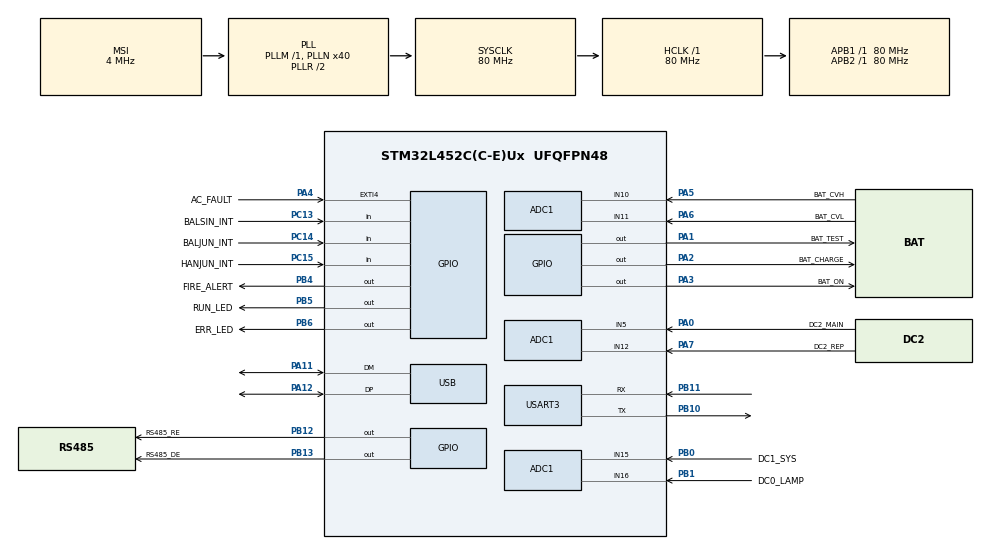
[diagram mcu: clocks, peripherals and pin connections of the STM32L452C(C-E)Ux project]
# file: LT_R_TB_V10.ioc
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ADC1.Channel-0\#ChannelRegularConversion=ADC_CHANNEL_10
ADC1.ClockPrescaler=ADC_CLOCK_ASYNC_DIV4
ADC1.ContinuousConvMode=DISABLE
ADC1.NbrOfConversion=1
ADC1.NbrOfConversionFlag=1
ADC1.OffsetNumber-0\#ChannelRegularConversion=ADC_OFFSET_NONE
ADC1.Rank-0\#ChannelRegularConversion=1
ADC1.SamplingTime-0\#ChannelRegularConversion=ADC_SAMPLETIME_247CYCLES_5
ADC1.master=1
IWDG.Prescaler=IWDG_PRESCALER_32
Mcu.Family=STM32L4
Mcu.Name=STM32L452C(C-E)Ux
Mcu.Package=UFQFPN48
NVIC.EXTI4_IRQn=true\:0\:0\:false\:false\:true\:true\:true\:true
NVIC.PriorityGroup=NVIC_PRIORITYGROUP_4
NVIC.TIM1_CC_IRQn=true\:0\:0\:false\:false\:true\:true\:true\:true
NVIC.TIM2_IRQn=true\:0\:0\:false\:false\:true\:true\:true\:true
NVIC.TIM3_IRQn=true\:0\:0\:false\:false\:true\:true\:true\:true
NVIC.USART3_IRQn=true\:0\:0\:false\:false\:true\:true\:true\:true
NVIC.USB_IRQn=true\:0\:0\:false\:false\:true\:false\:true\:true
PA0.GPIO_Label=DC2_MAIN
PA0.Signal=ADCx_IN5
PA1.GPIO_Label=BAT_TEST
PA1.Signal=GPIO_Output
PA11.Mode=Device
PA11.Signal=USB_DM
PA12.Mode=Device
PA12.Signal=USB_DP
PA13\ (JTMS/SWDIO).Mode=Trace_Asynchronous_SW
PA13\ (JTMS/SWDIO).Signal=SYS_JTMS-SWDIO
PA14\ (JTCK/SWCLK).Mode=Trace_Asynchronous_SW
PA14\ (JTCK/SWCLK).Signal=SYS_JTCK-SWCLK
PA2.GPIO_Label=BAT_CHARGE
PA2.Signal=GPIO_Output
PA3.GPIO_Label=BAT_ON
PA3.Signal=GPIO_Output
PA4.GPIO_Label=AC_FAULT
PA4.GPIO_ModeDefaultEXTI=GPIO_MODE_IT_RISING_FALLING
PA4.GPIO_PuPd=GPIO_PULLUP
PA4.Signal=GPXTI4
PA5.GPIO_Label=BAT_CVH
PA5.Signal=ADCx_IN10
PA6.GPIO_Label=BAT_CVL
PA6.Signal=ADCx_IN11
PA7.GPIO_Label=DC2_REP
PA7.Signal=ADCx_IN12
PB0.GPIO_Label=DC1_SYS
PB0.Signal=ADCx_IN15
PB1.GPIO_Label=DC0_LAMP
PB1.Signal=ADCx_IN16
PB10.Mode=Asynchronous
PB10.Signal=USART3_TX
PB11.Mode=Asynchronous
PB11.Signal=USART3_RX
PB12.GPIO_Label=RS485_RE
PB12.Signal=GPIO_Output
PB13.GPIO_Label=RS485_DE
PB13.Signal=GPIO_Output
PB3\ (JTDO/TRACESWO).Mode=Trace_Asynchronous_SW
PB3\ (JTDO/TRACESWO).Signal=SYS_JTDO-SWO
PB4\ (NJTRST).GPIO_Label=FIRE_ALERT
PB4\ (NJTRST).Signal=GPIO_Output
PB5.GPIO_Label=RUN_LED
PB5.Signal=GPIO_Output
PB6.GPIO_Label=ERR_LED
PB6.Signal=GPIO_Output
PC13.GPIO_Label=BALSIN_INT
PC13.Signal=GPIO_Input
PC14-OSC32_IN\ (PC14).GPIO_Label=BALJUN_INT
PC14-OSC32_IN\ (PC14).Signal=GPIO_Input
PC15-OSC32_OUT\ (PC15).GPIO_Label=HANJUN_INT
PC15-OSC32_OUT\ (PC15).Signal=GPIO_Input
ProjectManager.HeapSize=0x200
ProjectManager.StackSize=0x400
ProjectManager.TargetToolchain=STM32CubeIDE
RCC.ADCFreq_Value=48000000
RCC.AHBFreq_Value=80000000
RCC.APB1Freq_Value=80000000
RCC.APB1TimFreq_Value=80000000
RCC.APB2Freq_Value=80000000
RCC.APB2TimFreq_Value=80000000
RCC.CortexFreq_Value=80000000
RCC.HCLKFreq_Value=80000000
RCC.HSE_VALUE=8000000
RCC.HSI48_VALUE=48000000
RCC.HSI_VALUE=16000000
RCC.LSE_VALUE=32768
RCC.MSI_VALUE=4000000
RCC.PLLN=40
RCC.PLLSAI1N=24
RCC.SYSCLKFreq_VALUE=80000000
RCC.SYSCLKSource=RCC_SYSCLKSOURCE_PLLCLK
RCC.USBFreq_Value=48000000
RCC.VCOOutputFreq_Value=160000000
SH.ADCx_IN10.0=ADC1_IN10,IN10-Single-Ended
SH.ADCx_IN11.0=ADC1_IN11,IN11-Single-Ended
SH.ADCx_IN12.0=ADC1_IN12,IN12-Single-Ended
SH.ADCx_IN15.0=ADC1_IN15,IN15-Single-Ended
SH.ADCx_IN16.0=ADC1_IN16,IN16-Single-Ended
SH.ADCx_IN5.0=ADC1_IN5,IN5-Single-Ended
TIM1.Channel-Output\ Compare1\ No\ Output=TIM_CHANNEL_1
TIM1.Period=10000
TIM1.Prescaler=8000
TIM2.Channel-Output\ Compare1\ No\ Output=TIM_CHANNEL_1
TIM2.Period=99
TIM2.Prescaler=7999
TIM3.Channel-Output\ Compare1\ No\ Output=TIM_CHANNEL_1
TIM3.Period=10000
TIM3.Prescaler=800
USART3.VirtualMode-Asynchronous=VM_ASYNC
USB_DEVICE.CLASS_NAME_FS=CDC
USB_DEVICE.VirtualMode=Cdc
USB_DEVICE.VirtualModeFS=Cdc_FS
VP_IWDG_VS_IWDG.Mode=IWDG_Activate
VP_TIM1_VS_ClockSourceINT.Mode=Internal
VP_TIM1_VS_no_output1.Mode=Output Compare1 No Output
VP_TIM2_VS_ClockSourceINT.Mode=Internal
VP_TIM2_VS_no_output1.Mode=Output Compare1 No Output
VP_TIM3_VS_ClockSourceINT.Mode=Internal
VP_TIM3_VS_no_output1.Mode=Output Compare1 No Output
VP_USB_DEVICE_VS_USB_DEVICE_CDC_FS.Mode=CDC_FS
board=custom

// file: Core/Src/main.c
/* USER CODE BEGIN Header */
/**
  ******************************************************************************
  * @file           : main.c
  * @brief          : Main program body
  ******************************************************************************
  * @attention
  *
  * Copyright (c) 2025 STMicroelectronics.
  * All rights reserved.
  *
  * This software is licensed under terms that can be found in the LICENSE file
  * in the root directory of this software component.
  * If no LICENSE file comes with this software, it is provided AS-IS.
  *
  ******************************************************************************
  */
/* USER CODE END Header */
#include "main.h"
#include "usb_device.h"

/* USER CODE BEGIN Includes */
#include "Compile_Data.h"
/* USER CODE END Includes */

ADC_HandleTypeDef hadc1;

IWDG_HandleTypeDef hiwdg;

TIM_HandleTypeDef htim1;
TIM_HandleTypeDef htim2;
TIM_HandleTypeDef htim3;

UART_HandleTypeDef huart3;

/* USER CODE BEGIN PV */
//
#define Off_Battery_val 210000
#define Err_Battery_val 220000
#define Low_Battery_val 256000
//#define High_Battery_val 270000
#define High_Battery_val 285000                 // 자립형

uint8_t Uart_tmp[] = "Test\r\n";

uint32_t AC_FAULT_CNT ;

uint8_t Uart_rx3_buf[rx3_buf_len] ;
uint8_t Uart_rx3_buf_tmp[3] ;
int rx3_State ;
int rx3_buf_count;
int rx3_buf_count_tmp;
int rx3_Receive_complete;

int Balsin_signal, AC_FAULT;
int PYOSI_ADC, CCU_ADC, MAIN_ADC, REF_ADC, BAT_CVH_ADC, BAT_CVL_ADC;
int BAT_CVH_ADC_O, BAT_CVL_ADC_O;
int BAT_ADC , Bat_Currunt, Bat_Charge_Currunt, Bat_Charge_Val, Charge_Stat = 0,Charge_Cnt;
int Pow_Mode, Bat_Charge_Err, BAT_State, Test_status, Pre_Pow_Mode;
int HANJUN_sig,BALJUN_sig;
uint8_t Uart_tx_buf[tx_buf_len] ;

int Fire_signal;

int Balsin_Save[Balsin_CNT], Balsin_val;

int Bat_Charge_Mode;
int Bat_Charge_Compensation_Volt;
int Immobility_Chargr_Table[2]; //1:On 0: Off
int Compensation_Chargr_Table[5][2]; //1:On 0: Off

uint8_t Bat_Test_Status;

uint8_t TB_Address = 1 ;
#define Sub_TB_length      15

/* USER CODE END PV */

void SystemClock_Config(void);
void PeriphCommonClock_Config(void);
static void MX_GPIO_Init(void);
static void MX_TIM1_Init(void);
static void MX_TIM2_Init(void);
static void MX_TIM3_Init(void);
static void MX_USART3_UART_Init(void);
static void MX_ADC1_Init(void);
static void MX_IWDG_Init(void);

/* USER CODE BEGIN 0 */

///////////////Start timer interrupt operation function///////////////////

void HAL_TIM_OC_DelayElapsedCallback(TIM_HandleTypeDef *htim)
{
  if(htim->Instance == TIM1){
	  HAL_IWDG_Refresh(&hiwdg);
  }

}

/* USER CODE END 0 */

int main(void)
{

  /* MCU Configuration--------------------------------------------------------*/

  /* Reset of all peripherals, Initializes the Flash interface and the Systick. */
  HAL_Init();

  /* Configure the system clock */
  SystemClock_Config();

  /* Configure the peripherals common clocks */
  PeriphCommonClock_Config();

  /* Initialize all configured peripherals */
  MX_GPIO_Init();
  MX_TIM1_Init();
  MX_TIM2_Init();
  MX_TIM3_Init();
  MX_USART3_UART_Init();
  MX_USB_DEVICE_Init();
  MX_ADC1_Init();
  MX_IWDG_Init();
  /* USER CODE BEGIN 2 */

  /* huart3 RX Interrupt  Enable */
  /* Process Unlocked */
  __HAL_UNLOCK(&huart3);
  /* Enable the UART Parity Error Interrupt */
  __HAL_UART_ENABLE_IT(&huart3, UART_IT_PE);
  /* Enable the UART Error Interrupt: (Frame error, noise error, overrun error) */
  __HAL_UART_ENABLE_IT(&huart3, UART_IT_ERR);
  /* Enable the UART Data Register not empty Interrupt */
  __HAL_UART_ENABLE_IT(&huart3, UART_IT_RXNE);

  HAL_TIM_OC_Start_IT(&htim1,TIM_CHANNEL_1);
  HAL_TIM_OC_Start_IT(&htim2,TIM_CHANNEL_1);
  HAL_TIM_OC_Start_IT(&htim3,TIM_CHANNEL_1);

  Pow_Mode = AC_Mode;
  BAT_State = BAT_OK;

  Immobility_Chargr_Table[0] = 6; //1:On 0: Off
  Immobility_Chargr_Table[1] = Immobility_Chargr_Table[0] + 38; //1:On 0: Off

  //25.5V
  Compensation_Chargr_Table[0][0] =  6; //1:On 0: Off
  Compensation_Chargr_Table[0][1] = 26. + Compensation_Chargr_Table[0][0]; //1:On 0: Off
  //26V
  Compensation_Chargr_Table[1][0] =  6; //1:On 0: Off
  Compensation_Chargr_Table[1][1] = 38 + Compensation_Chargr_Table[1][0]; //1:On 0: Off
  //26.5V
  Compensation_Chargr_Table[2][0] =  6; //1:On 0: Off
  Compensation_Chargr_Table[2][1] = 56 + Compensation_Chargr_Table[2][0]; //1:On 0: Off
  //27V
  Compensation_Chargr_Table[3][0] =  6; //1:On 0: Off
  Compensation_Chargr_Table[3][1] = 83 + Compensation_Chargr_Table[3][0]; //1:On 0: Off
  //27.5V
  Compensation_Chargr_Table[4][0] =  6; //1:On 0: Off
  Compensation_Chargr_Table[4][1]= 100 + Compensation_Chargr_Table[4][0] ; //1:On 0: Off

  Bat_Charge_Mode = Immobility_Mode;
  Bat_Test_Status = 0;
  //Bat_Charge_Mode = Compensation_Mode;

  Compile_Date();

  /* USER CODE END 2 */

  /* Infinite loop */
  while (1)
  {

    /* USER CODE BEGIN 3 */

      /* Enable the UART Error Interrupt: (Frame error, noise error, overrun error) */
  __HAL_UART_ENABLE_IT(&huart3, UART_IT_ERR);
  /* Enable the UART Data Register not empty Interrupt */
  __HAL_UART_ENABLE_IT(&huart3, UART_IT_RXNE);

    if(rx3_Receive_complete == 1){
      SW_Com();
    }

    //Balsin_signal = Read_BALSIN();
    //AC_FAULT = Read_AC_FAULT();

    //AC_FAULT = Read_AC_FAULT();

    Read_ADC();
    Pre_Pow_Mode = Pow_Mode;
//    if(AC_FAULT == 1){
//    	if(PYOSI_ADC < 220000){
//    		Pow_Mode = BAT_Mode;
//    	}
//    	else{
//    		Pow_Mode = AC_Mode;
//    	}
//    }
//    else{
//      Pow_Mode = BAT_Mode;
//    }

    /*
    if(Pow_Mode == BAT_Mode){
		if(PYOSI_ADC < 10000){
			Pow_Mode = BAT_Mode;
		}
		else{
			Pow_Mode = AC_Mode;
		}
    }
    */

    //Pow_Mode = AC_Mode;
    if(Pow_Mode == AC_Mode){

//    	if(Pre_Pow_Mode == BAT_Mode){
//    		HAL_Delay(300);
//    	}

      HAL_GPIO_WritePin(BAT_ON_GPIO_Port, BAT_ON_Pin, GPIO_PIN_RESET);

	  //HAL_GPIO_WritePin(BAT_CHARGE_GPIO_Port , BAT_CHARGE_Pin , GPIO_PIN_RESET);
	  HAL_Delay(50);

      Read_ADC();

      //BAT_ADC = 230000;

      /*
      if(Bat_Test_Status == 1){
    	  Bat_Test_Status = 0;
    	  Battery_Test();
      }
*/

      if((BAT_ADC >= Err_Battery_val)&(BAT_ADC < High_Battery_val )){
        Charge_Stat = 1;
        BAT_State = BAT_OK;
        if(Bat_Charge_Mode == Immobility_Mode){

        	if(BAT_ADC > 280000){
        		Bat_Charge_Mode = Compensation_Mode;
        	}
        }
        else if(Bat_Charge_Mode == Compensation_Mode){
        	if((BAT_ADC >= 255000)&(BAT_ADC < 260000 )){
        		Bat_Charge_Compensation_Volt = Charge_255_Mode;
        	}
        	else if((BAT_ADC >= 260000)&(BAT_ADC < 265000 )){
        		Bat_Charge_Compensation_Volt = Charge_260_Mode;
        	}
        	else if((BAT_ADC >= 265000)&(BAT_ADC < 270000 )){
        		Bat_Charge_Compensation_Volt = Charge_265_Mode;
        	}
        	else if((BAT_ADC >= 270000)&(BAT_ADC < 275000 )){
        		Bat_Charge_Compensation_Volt = Charge_270_Mode;
        	}
        	else if((BAT_ADC >= 275000)&(BAT_ADC < 280000 )){
        		Bat_Charge_Compensation_Volt = Charge_275_Mode;
        	}
        	else{
        		Bat_Charge_Compensation_Volt = Charge_Off_Mode;
        	}
        }
      }

      else if(BAT_ADC >= High_Battery_val ){
        Charge_Stat = 0;
        Bat_Charge_Currunt = 0;
        BAT_State = BAT_OK;
      }
      else if(BAT_ADC < Err_Battery_val){
        Charge_Stat = 2;
        Bat_Charge_Currunt = 0;
        BAT_State = BAT_False;
      }
    }
    else{
      Charge_Stat = 0;
      Read_ADC();
      BAT_ADC = BAT_CVL_ADC;

//      BAT_ADC

      if(BAT_ADC < Off_Battery_val){
        HAL_GPIO_WritePin(BAT_ON_GPIO_Port, BAT_ON_Pin, GPIO_PIN_RESET);
//        while(1){
//        }
      }
      else{
        HAL_GPIO_WritePin(BAT_ON_GPIO_Port, BAT_ON_Pin, GPIO_PIN_SET);
      }
    }

    if(Charge_Stat != 1){
      Read_ADC();
      BAT_ADC = BAT_CVL_ADC;
    }
    else{
      if(Charge_Cnt == 4){
        Read_ADC();       //충전중에는 베터리 값을 갱신하지 않는다.
        Bat_Charge_Currunt = Bat_Currunt ;
        Bat_Charge_Val = BAT_CVH_ADC;
      }
      else if((Charge_Cnt >= 15) & (Charge_Cnt <40)){
      Read_ADC();
      BAT_ADC = BAT_CVL_ADC;
      }
    }
    if(BAT_ADC < 270000){
      for(int i=0;i<100;i++){
        if(rx3_Receive_complete == 1){
          SW_Com();
        }
        HAL_Delay(1);
      }
    }

  }

  /* USER CODE END 3 */
}

void SystemClock_Config(void)
{
  RCC_OscInitTypeDef RCC_OscInitStruct = {0};
  RCC_ClkInitTypeDef RCC_ClkInitStruct = {0};

  /** Configure the main internal regulator output voltage
  */
  if (HAL_PWREx_ControlVoltageScaling(PWR_REGULATOR_VOLTAGE_SCALE1) != HAL_OK)
  {
    Error_Handler();
  }

  /** Initializes the RCC Oscillators according to the specified parameters
  * in the RCC_OscInitTypeDef structure.
  */
  RCC_OscInitStruct.OscillatorType = RCC_OSCILLATORTYPE_LSI|RCC_OSCILLATORTYPE_MSI;
  RCC_OscInitStruct.LSIState = RCC_LSI_ON;
  RCC_OscInitStruct.MSIState = RCC_MSI_ON;
  RCC_OscInitStruct.MSICalibrationValue = 0;
  RCC_OscInitStruct.MSIClockRange = RCC_MSIRANGE_6;
  RCC_OscInitStruct.PLL.PLLState = RCC_PLL_ON;
  RCC_OscInitStruct.PLL.PLLSource = RCC_PLLSOURCE_MSI;
  RCC_OscInitStruct.PLL.PLLM = 1;
  RCC_OscInitStruct.PLL.PLLN = 40;
  RCC_OscInitStruct.PLL.PLLP = RCC_PLLP_DIV7;
  RCC_OscInitStruct.PLL.PLLQ = RCC_PLLQ_DIV2;
  RCC_OscInitStruct.PLL.PLLR = RCC_PLLR_DIV2;
  if (HAL_RCC_OscConfig(&RCC_OscInitStruct) != HAL_OK)
  {
    Error_Handler();
  }

  /** Initializes the CPU, AHB and APB buses clocks
  */
  RCC_ClkInitStruct.ClockType = RCC_CLOCKTYPE_HCLK|RCC_CLOCKTYPE_SYSCLK
                              |RCC_CLOCKTYPE_PCLK1|RCC_CLOCKTYPE_PCLK2;
  RCC_ClkInitStruct.SYSCLKSource = RCC_SYSCLKSOURCE_PLLCLK;
  RCC_ClkInitStruct.AHBCLKDivider = RCC_SYSCLK_DIV1;
  RCC_ClkInitStruct.APB1CLKDivider = RCC_HCLK_DIV1;
  RCC_ClkInitStruct.APB2CLKDivider = RCC_HCLK_DIV1;

  if (HAL_RCC_ClockConfig(&RCC_ClkInitStruct, FLASH_LATENCY_4) != HAL_OK)
  {
    Error_Handler();
  }
}

void PeriphCommonClock_Config(void)
{
  RCC_PeriphCLKInitTypeDef PeriphClkInit = {0};

  /** Initializes the peripherals clock
  */
  PeriphClkInit.PeriphClockSelection = RCC_PERIPHCLK_USB|RCC_PERIPHCLK_ADC;
  PeriphClkInit.AdcClockSelection = RCC_ADCCLKSOURCE_PLLSAI1;
  PeriphClkInit.UsbClockSelection = RCC_USBCLKSOURCE_PLLSAI1;
  PeriphClkInit.PLLSAI1.PLLSAI1Source = RCC_PLLSOURCE_MSI;
  PeriphClkInit.PLLSAI1.PLLSAI1M = 1;
  PeriphClkInit.PLLSAI1.PLLSAI1N = 24;
  PeriphClkInit.PLLSAI1.PLLSAI1P = RCC_PLLP_DIV7;
  PeriphClkInit.PLLSAI1.PLLSAI1Q = RCC_PLLQ_DIV2;
  PeriphClkInit.PLLSAI1.PLLSAI1R = RCC_PLLR_DIV2;
  PeriphClkInit.PLLSAI1.PLLSAI1ClockOut = RCC_PLLSAI1_48M2CLK|RCC_PLLSAI1_ADC1CLK;
  if (HAL_RCCEx_PeriphCLKConfig(&PeriphClkInit) != HAL_OK)
  {
    Error_Handler();
  }
}

static void MX_ADC1_Init(void)
{

  ADC_ChannelConfTypeDef sConfig = {0};

  /** Common config
  */
  hadc1.Instance = ADC1;
  hadc1.Init.ClockPrescaler = ADC_CLOCK_ASYNC_DIV4;
  hadc1.Init.Resolution = ADC_RESOLUTION_12B;
  hadc1.Init.DataAlign = ADC_DATAALIGN_RIGHT;
  hadc1.Init.ScanConvMode = ADC_SCAN_DISABLE;
  hadc1.Init.EOCSelection = ADC_EOC_SINGLE_CONV;
  hadc1.Init.LowPowerAutoWait = DISABLE;
  hadc1.Init.ContinuousConvMode = DISABLE;
  hadc1.Init.NbrOfConversion = 1;
  hadc1.Init.DiscontinuousConvMode = DISABLE;
  hadc1.Init.ExternalTrigConv = ADC_SOFTWARE_START;
  hadc1.Init.ExternalTrigConvEdge = ADC_EXTERNALTRIGCONVEDGE_NONE;
  hadc1.Init.DMAContinuousRequests = DISABLE;
  hadc1.Init.Overrun = ADC_OVR_DATA_PRESERVED;
  hadc1.Init.OversamplingMode = DISABLE;
  if (HAL_ADC_Init(&hadc1) != HAL_OK)
  {
    Error_Handler();
  }

  /** Configure Regular Channel
  */
  sConfig.Channel = ADC_CHANNEL_10;
  sConfig.Rank = ADC_REGULAR_RANK_1;
  sConfig.SamplingTime = ADC_SAMPLETIME_247CYCLES_5;
  sConfig.SingleDiff = ADC_SINGLE_ENDED;
  sConfig.OffsetNumber = ADC_OFFSET_NONE;
  sConfig.Offset = 0;
  if (HAL_ADC_ConfigChannel(&hadc1, &sConfig) != HAL_OK)
  {
    Error_Handler();
  }

}

static void MX_IWDG_Init(void)
{

  hiwdg.Instance = IWDG;
  hiwdg.Init.Prescaler = IWDG_PRESCALER_32;
  hiwdg.Init.Window = 4095;
  hiwdg.Init.Reload = 4095;
  if (HAL_IWDG_Init(&hiwdg) != HAL_OK)
  {
    Error_Handler();
  }

}

static void MX_TIM1_Init(void)
{

  TIM_ClockConfigTypeDef sClockSourceConfig = {0};
  TIM_MasterConfigTypeDef sMasterConfig = {0};
  TIM_OC_InitTypeDef sConfigOC = {0};
  TIM_BreakDeadTimeConfigTypeDef sBreakDeadTimeConfig = {0};

  htim1.Instance = TIM1;
  htim1.Init.Prescaler = 8000;
  htim1.Init.CounterMode = TIM_COUNTERMODE_UP;
  htim1.Init.Period = 10000;
  htim1.Init.ClockDivision = TIM_CLOCKDIVISION_DIV1;
  htim1.Init.RepetitionCounter = 0;
  htim1.Init.AutoReloadPreload = TIM_AUTORELOAD_PRELOAD_DISABLE;
  if (HAL_TIM_Base_Init(&htim1) != HAL_OK)
  {
    Error_Handler();
  }
  sClockSourceConfig.ClockSource = TIM_CLOCKSOURCE_INTERNAL;
  if (HAL_TIM_ConfigClockSource(&htim1, &sClockSourceConfig) != HAL_OK)
  {
    Error_Handler();
  }
  if (HAL_TIM_OC_Init(&htim1) != HAL_OK)
  {
    Error_Handler();
  }
  sMasterConfig.MasterOutputTrigger = TIM_TRGO_RESET;
  sMasterConfig.MasterOutputTrigger2 = TIM_TRGO2_RESET;
  sMasterConfig.MasterSlaveMode = TIM_MASTERSLAVEMODE_DISABLE;
  if (HAL_TIMEx_MasterConfigSynchronization(&htim1, &sMasterConfig) != HAL_OK)
  {
    Error_Handler();
  }
  sConfigOC.OCMode = TIM_OCMODE_TIMING;
  sConfigOC.Pulse = 0;
  sConfigOC.OCPolarity = TIM_OCPOLARITY_HIGH;
  sConfigOC.OCNPolarity = TIM_OCNPOLARITY_HIGH;
  sConfigOC.OCFastMode = TIM_OCFAST_DISABLE;
  sConfigOC.OCIdleState = TIM_OCIDLESTATE_RESET;
  sConfigOC.OCNIdleState = TIM_OCNIDLESTATE_RESET;
  if (HAL_TIM_OC_ConfigChannel(&htim1, &sConfigOC, TIM_CHANNEL_1) != HAL_OK)
  {
    Error_Handler();
  }
  sBreakDeadTimeConfig.OffStateRunMode = TIM_OSSR_DISABLE;
  sBreakDeadTimeConfig.OffStateIDLEMode = TIM_OSSI_DISABLE;
  sBreakDeadTimeConfig.LockLevel = TIM_LOCKLEVEL_OFF;
  sBreakDeadTimeConfig.DeadTime = 0;
  sBreakDeadTimeConfig.BreakState = TIM_BREAK_DISABLE;
  sBreakDeadTimeConfig.BreakPolarity = TIM_BREAKPOLARITY_HIGH;
  sBreakDeadTimeConfig.BreakFilter = 0;
  sBreakDeadTimeConfig.Break2State = TIM_BREAK2_DISABLE;
  sBreakDeadTimeConfig.Break2Polarity = TIM_BREAK2POLARITY_HIGH;
  sBreakDeadTimeConfig.Break2Filter = 0;
  sBreakDeadTimeConfig.AutomaticOutput = TIM_AUTOMATICOUTPUT_DISABLE;
  if (HAL_TIMEx_ConfigBreakDeadTime(&htim1, &sBreakDeadTimeConfig) != HAL_OK)
  {
    Error_Handler();
  }

}

static void MX_TIM2_Init(void)
{

  TIM_ClockConfigTypeDef sClockSourceConfig = {0};
  TIM_MasterConfigTypeDef sMasterConfig = {0};
  TIM_OC_InitTypeDef sConfigOC = {0};

  htim2.Instance = TIM2;
  htim2.Init.Prescaler = 7999;
  htim2.Init.CounterMode = TIM_COUNTERMODE_UP;
  htim2.Init.Period = 99;
  htim2.Init.ClockDivision = TIM_CLOCKDIVISION_DIV1;
  htim2.Init.AutoReloadPreload = TIM_AUTORELOAD_PRELOAD_DISABLE;
  if (HAL_TIM_Base_Init(&htim2) != HAL_OK)
  {
    Error_Handler();
  }
  sClockSourceConfig.ClockSource = TIM_CLOCKSOURCE_INTERNAL;
  if (HAL_TIM_ConfigClockSource(&htim2, &sClockSourceConfig) != HAL_OK)
  {
    Error_Handler();
  }
  if (HAL_TIM_OC_Init(&htim2) != HAL_OK)
  {
    Error_Handler();
  }
  sMasterConfig.MasterOutputTrigger = TIM_TRGO_RESET;
  sMasterConfig.MasterSlaveMode = TIM_MASTERSLAVEMODE_DISABLE;
  if (HAL_TIMEx_MasterConfigSynchronization(&htim2, &sMasterConfig) != HAL_OK)
  {
    Error_Handler();
  }
  sConfigOC.OCMode = TIM_OCMODE_TIMING;
  sConfigOC.Pulse = 0;
  sConfigOC.OCPolarity = TIM_OCPOLARITY_HIGH;
  sConfigOC.OCFastMode = TIM_OCFAST_DISABLE;
  if (HAL_TIM_OC_ConfigChannel(&htim2, &sConfigOC, TIM_CHANNEL_1) != HAL_OK)
  {
    Error_Handler();
  }

}

static void MX_TIM3_Init(void)
{

  TIM_ClockConfigTypeDef sClockSourceConfig = {0};
  TIM_MasterConfigTypeDef sMasterConfig = {0};
  TIM_OC_InitTypeDef sConfigOC = {0};

  htim3.Instance = TIM3;
  htim3.Init.Prescaler = 800;
  htim3.Init.CounterMode = TIM_COUNTERMODE_UP;
  htim3.Init.Period = 10000;
  htim3.Init.ClockDivision = TIM_CLOCKDIVISION_DIV1;
  htim3.Init.AutoReloadPreload = TIM_AUTORELOAD_PRELOAD_DISABLE;
  if (HAL_TIM_Base_Init(&htim3) != HAL_OK)
  {
    Error_Handler();
  }
  sClockSourceConfig.ClockSource = TIM_CLOCKSOURCE_INTERNAL;
  if (HAL_TIM_ConfigClockSource(&htim3, &sClockSourceConfig) != HAL_OK)
  {
    Error_Handler();
  }
  if (HAL_TIM_OC_Init(&htim3) != HAL_OK)
  {
    Error_Handler();
  }
  sMasterConfig.MasterOutputTrigger = TIM_TRGO_RESET;
  sMasterConfig.MasterSlaveMode = TIM_MASTERSLAVEMODE_DISABLE;
  if (HAL_TIMEx_MasterConfigSynchronization(&htim3, &sMasterConfig) != HAL_OK)
  {
    Error_Handler();
  }
  sConfigOC.OCMode = TIM_OCMODE_TIMING;
  sConfigOC.Pulse = 0;
  sConfigOC.OCPolarity = TIM_OCPOLARITY_HIGH;
  sConfigOC.OCFastMode = TIM_OCFAST_DISABLE;
  if (HAL_TIM_OC_ConfigChannel(&htim3, &sConfigOC, TIM_CHANNEL_1) != HAL_OK)
  {
    Error_Handler();
  }

}

static void MX_USART3_UART_Init(void)
{

  huart3.Instance = USART3;
  huart3.Init.BaudRate = 115200;
  huart3.Init.WordLength = UART_WORDLENGTH_8B;
  huart3.Init.StopBits = UART_STOPBITS_1;
  huart3.Init.Parity = UART_PARITY_NONE;
  huart3.Init.Mode = UART_MODE_TX_RX;
  huart3.Init.HwFlowCtl = UART_HWCONTROL_NONE;
  huart3.Init.OverSampling = UART_OVERSAMPLING_16;
  huart3.Init.OneBitSampling = UART_ONE_BIT_SAMPLE_DISABLE;
  huart3.AdvancedInit.AdvFeatureInit = UART_ADVFEATURE_NO_INIT;
  if (HAL_UART_Init(&huart3) != HAL_OK)
  {
    Error_Handler();
  }

}

static void MX_GPIO_Init(void)
{
  GPIO_InitTypeDef GPIO_InitStruct = {0};

  /* GPIO Ports Clock Enable */
  __HAL_RCC_GPIOC_CLK_ENABLE();
  __HAL_RCC_GPIOA_CLK_ENABLE();
  __HAL_RCC_GPIOB_CLK_ENABLE();

  /*Configure GPIO pin Output Level */
  HAL_GPIO_WritePin(GPIOA, BAT_TEST_Pin|BAT_CHARGE_Pin|BAT_ON_Pin, GPIO_PIN_RESET);

  /*Configure GPIO pin Output Level */
  HAL_GPIO_WritePin(GPIOB, RS485_RE_Pin|RS485_DE_Pin|FIRE_ALERT_Pin|RUN_LED_Pin
                          |ERR_LED_Pin, GPIO_PIN_RESET);

  /*Configure GPIO pins : BALSIN_INT_Pin BALJUN_INT_Pin HANJUN_INT_Pin */
  GPIO_InitStruct.Pin = BALSIN_INT_Pin|BALJUN_INT_Pin|HANJUN_INT_Pin;
  GPIO_InitStruct.Mode = GPIO_MODE_INPUT;
  GPIO_InitStruct.Pull = GPIO_NOPULL;
  HAL_GPIO_Init(GPIOC, &GPIO_InitStruct);

  /*Configure GPIO pins : BAT_TEST_Pin BAT_CHARGE_Pin BAT_ON_Pin */
  GPIO_InitStruct.Pin = BAT_TEST_Pin|BAT_CHARGE_Pin|BAT_ON_Pin;
  GPIO_InitStruct.Mode = GPIO_MODE_OUTPUT_PP;
  GPIO_InitStruct.Pull = GPIO_NOPULL;
  GPIO_InitStruct.Speed = GPIO_SPEED_FREQ_LOW;
  HAL_GPIO_Init(GPIOA, &GPIO_InitStruct);

  /*Configure GPIO pin : AC_FAULT_Pin */
  GPIO_InitStruct.Pin = AC_FAULT_Pin;
  GPIO_InitStruct.Mode = GPIO_MODE_IT_RISING_FALLING;
  GPIO_InitStruct.Pull = GPIO_PULLUP;
  HAL_GPIO_Init(AC_FAULT_GPIO_Port, &GPIO_InitStruct);

  /*Configure GPIO pins : RS485_RE_Pin RS485_DE_Pin FIRE_ALERT_Pin RUN_LED_Pin
                           ERR_LED_Pin */
  GPIO_InitStruct.Pin = RS485_RE_Pin|RS485_DE_Pin|FIRE_ALERT_Pin|RUN_LED_Pin
                          |ERR_LED_Pin;
  GPIO_InitStruct.Mode = GPIO_MODE_OUTPUT_PP;
  GPIO_InitStruct.Pull = GPIO_NOPULL;
  GPIO_InitStruct.Speed = GPIO_SPEED_FREQ_LOW;
  HAL_GPIO_Init(GPIOB, &GPIO_InitStruct);

  /* EXTI interrupt init*/
  HAL_NVIC_SetPriority(EXTI4_IRQn, 0, 0);
  HAL_NVIC_EnableIRQ(EXTI4_IRQn);

}

/* USER CODE BEGIN 4 */

int Uart3_crc = 0;
int Uart_crc = 0;

void SW_Com(void){

  // CRC 체크

  int i,pow_st;

  // 전송할 중계기 정보를 확인한다.

  Uart3_crc = 0;

  for(i = 0; i <rx3_buf_count_tmp - 5 ; i++){
    Uart3_crc = Uart3_crc ^ Uart_rx3_buf[i+2];
  }

  if(Uart3_crc == Uart_rx3_buf[rx3_buf_count_tmp - 3]){
    //0x51 , 'Q' ,중계기 정보 요청 (UI에서 설정한 값만)

    if(Uart_rx3_buf[4] == 0x54){        // TB board: '0x54'
      if(Uart_rx3_buf[3] == 0x51){

        Uart_tx_buf[0] = 0x53;    //S
        Uart_tx_buf[1] = 0x54;    //T
        Uart_tx_buf[2] = 0x54;    //T
        Uart_tx_buf[3] = 0x52;    //R
        Uart_tx_buf[4] = 0x01;    //address
        Uart_tx_buf[5] = 0x0A;    //version 10 -> 1.0
        Uart_tx_buf[6] = 0x00;    //외부 발신
        Uart_tx_buf[7] = 0x00;    //외부 전원
        Uart_tx_buf[8] = 0x00;    //베터리 AC 상태
        Uart_tx_buf[9] = 0x00;    //베터리 전압
        Uart_tx_buf[10] = 0x00;   //메인 전압
        Uart_tx_buf[11] = 0x00;   //충전 전압
        Uart_tx_buf[12] = 0x00;   //베터리 테스트 결과
        Uart_tx_buf[13] = 0x00;   //dummy1
        Uart_tx_buf[14] = 0x00;   //dummy2
        Uart_tx_buf[15] = 0x00;   //CRC
        Uart_tx_buf[16] = 0x45;   //E
        Uart_tx_buf[17] = 0x44;   //D

        Uart_crc = 0;

        //Balsin_signal = Read_BALSIN();
        Balsin_signal = Balsin_val;
        HANJUN_sig = Read_HANJUN();
        BALJUN_sig = Read_BALJUN();

        if((HANJUN_sig == 0) &(BALJUN_sig ==0)){
          pow_st = 0;
        }
        else if((HANJUN_sig == 1) &(BALJUN_sig ==0)){
          pow_st = 1;
        }
        else if((HANJUN_sig == 0) &(BALJUN_sig ==1)){
          pow_st = 2;
        }
        else if((HANJUN_sig == 1) &(BALJUN_sig ==1)){
          pow_st = 3;
        }

        Uart_tx_buf[6] = Balsin_signal;
        Uart_tx_buf[7] = pow_st;    //외부 전원 1: 한전 , 2:발전
        //Uart_tx_buf[8] = AC_FAULT;    //베터리 AC 상태
        Uart_tx_buf[8] = Pow_Mode;

        if(((BAT_ADC / 1000) - 100)<0){
          Uart_tx_buf[9] = 0;    //베터리 전압
        }
        else {
          Uart_tx_buf[9] = (BAT_ADC / 1000) - 100;    //베터리 전압
        }

        if(((MAIN_ADC / 1000) - 100)<0){
          Uart_tx_buf[10] = 0;    //베터리 전압
        }
        else {
          Uart_tx_buf[10] = (MAIN_ADC / 1000) - 100;    //베터리 전압
        }

         if(((Bat_Charge_Val / 1000) - 100)<0){
          Uart_tx_buf[11] = 0;    //베터리 전압
        }
        else {
          Uart_tx_buf[11] = (Bat_Charge_Val / 1000) - 100;    //베터리 전압
        }

        //Uart_tx_buf[10] = (MAIN_ADC / 1000) - 100;   //메인 전압
        //Uart_tx_buf[11] = (Bat_Charge_Val / 1000) - 100;   //충전 전압
        Uart_tx_buf[12] = ((Charge_Stat << 4 )&0xF0) | (Test_status&0x0F);   //베터리 테스트 결과

        Uart_tx_buf[14] = 24 ;//dummy2   표시등 퓨즈 단선 전압값 , 벽부형만 적용 자립형은 24v고정
        for(i = 0; i <tx_buf_len - 5 ; i++){
          Uart_crc = Uart_crc ^ Uart_tx_buf[i+2];
        }
        Uart_tx_buf[15] = Uart_crc;

        HAL_GPIO_WritePin(RS485_DE_GPIO_Port , RS485_DE_Pin , GPIO_PIN_SET);
        HAL_GPIO_WritePin(RS485_RE_GPIO_Port , RS485_RE_Pin , GPIO_PIN_SET);

        HAL_Delay(1);
        if(HAL_UART_Transmit(&huart3, Uart_tx_buf, sizeof(Uart_tx_buf), 1000)!= HAL_OK)
            {
              Error_Handler();
            }

        HAL_Delay(1);

        HAL_GPIO_WritePin(RS485_DE_GPIO_Port , RS485_DE_Pin , GPIO_PIN_RESET);
        HAL_GPIO_WritePin(RS485_RE_GPIO_Port , RS485_RE_Pin , GPIO_PIN_RESET);

      }
      else if(Uart_rx3_buf[3] == 0x53){

        if(Uart_rx3_buf[6] == 0x01){
        	if(Bat_Test_Status == 0){
        		Bat_Test_Status = 1;
        		Battery_Test();
        	}
        	Bat_Test_Status = 0;
        }
        else if(Uart_rx3_buf[6] == 0x00){
        	Test_status = 0;
        }

        if(Uart_rx3_buf[8] == 0x01){
          Fire_signal = 1;
          HAL_GPIO_WritePin(FIRE_ALERT_GPIO_Port , FIRE_ALERT_Pin , GPIO_PIN_SET);
        }
        else if(Uart_rx3_buf[8] == 0x00){
          Fire_signal = 0;
          HAL_GPIO_WritePin(FIRE_ALERT_GPIO_Port , FIRE_ALERT_Pin , GPIO_PIN_RESET);
        }
      }
      else if(Uart_rx3_buf[3] == 0x56){
    	  SUB_Com_SW_V();
      }
    }
  }

  for(i = 0; i <rx3_buf_len ; i++){
    Uart_rx3_buf[i] = 0;
  }

  rx3_Receive_complete = 0;

}

int Read_BALSIN(void){
  int Read_val = 0;
  if(HAL_GPIO_ReadPin(BALSIN_INT_GPIO_Port, BALSIN_INT_Pin) == GPIO_PIN_RESET){
    Read_val = 1;
  }
  else{
    Read_val = 0;
  }

  return Read_val;
}

int Read_HANJUN(void){
  int Read_val = 0;
  if(HAL_GPIO_ReadPin(HANJUN_INT_GPIO_Port, HANJUN_INT_Pin) == GPIO_PIN_RESET){
    Read_val = 1;
  }
  else{
    Read_val = 0;
  }

  return Read_val;
}

int Read_BALJUN(void){
  int Read_val = 0;
  if(HAL_GPIO_ReadPin(BALJUN_INT_GPIO_Port, BALJUN_INT_Pin) == GPIO_PIN_RESET){
    Read_val = 1;
  }
  else{
    Read_val = 0;
  }

  return Read_val;
}

void Read_ADC(void){

  //ADC Setting
  float adc_dalta ;

  adc_dalta = 8.06;

  ADC_ChannelConfTypeDef sConfig = {0};

  hadc1.Instance = ADC1;
  hadc1.Init.ClockPrescaler = ADC_CLOCK_ASYNC_DIV4;
  hadc1.Init.Resolution = ADC_RESOLUTION_12B;
  hadc1.Init.DataAlign = ADC_DATAALIGN_RIGHT;
  hadc1.Init.ScanConvMode = ADC_SCAN_DISABLE;
  hadc1.Init.EOCSelection = ADC_EOC_SINGLE_CONV;
  hadc1.Init.LowPowerAutoWait = DISABLE;
  hadc1.Init.ContinuousConvMode = DISABLE;
  hadc1.Init.NbrOfConversion = 1;
  hadc1.Init.DiscontinuousConvMode = DISABLE;
  hadc1.Init.ExternalTrigConv = ADC_SOFTWARE_START;
  hadc1.Init.ExternalTrigConvEdge = ADC_EXTERNALTRIGCONVEDGE_NONE;
  hadc1.Init.DMAContinuousRequests = DISABLE;
  hadc1.Init.Overrun = ADC_OVR_DATA_PRESERVED;
  hadc1.Init.OversamplingMode = DISABLE;
  if (HAL_ADC_Init(&hadc1) != HAL_OK)
  {
    Error_Handler();
  }
  /** Configure Regular Channel
  */

   ///////////////////////////////////////////////////////////////////

  sConfig.Channel = ADC_CHANNEL_12;
  sConfig.Rank = ADC_REGULAR_RANK_1;
  sConfig.SamplingTime = ADC_SAMPLETIME_47CYCLES_5;
  //sConfig.SamplingTime = ADC_SAMPLETIME_640CYCLES_5;
  sConfig.SingleDiff = ADC_SINGLE_ENDED;
  sConfig.OffsetNumber = ADC_OFFSET_NONE;
  sConfig.Offset = 0;
  if (HAL_ADC_ConfigChannel(&hadc1, &sConfig) != HAL_OK)
  {
    Error_Handler();
  }

  int REF_ADC_tmp;
  HAL_ADC_Start(&hadc1);
  HAL_ADC_PollForConversion(&hadc1, 1000);
  REF_ADC_tmp = HAL_ADC_GetValue(&hadc1);
  HAL_ADC_Stop(&hadc1);

  REF_ADC_tmp =(int) ( REF_ADC_tmp * adc_dalta * 8 );

  REF_ADC = REF_ADC_tmp;

  ///////////////////////////////////////////////////////////////////

  ///////////////////////////////////////////////////////////////////

  sConfig.Channel = ADC_CHANNEL_16;
  if (HAL_ADC_ConfigChannel(&hadc1, &sConfig) != HAL_OK)
  {
    Error_Handler();
  }

  int PYOSI_ADC_tmp;
  HAL_ADC_Start(&hadc1);
  HAL_ADC_PollForConversion(&hadc1, 1000);
  PYOSI_ADC_tmp = HAL_ADC_GetValue(&hadc1);
  HAL_ADC_Stop(&hadc1);

  PYOSI_ADC_tmp =(int) ( PYOSI_ADC_tmp * adc_dalta * 15 );

  PYOSI_ADC = PYOSI_ADC_tmp;

  ///////////////////////////////////////////////////////////////////

  ///////////////////////////////////////////////////////////////////

  sConfig.Channel = ADC_CHANNEL_15;
  if (HAL_ADC_ConfigChannel(&hadc1, &sConfig) != HAL_OK)
  {
    Error_Handler();
  }

  int CCU_ADC_tmp;
  HAL_ADC_Start(&hadc1);
  HAL_ADC_PollForConversion(&hadc1, 1000);
  CCU_ADC_tmp = HAL_ADC_GetValue(&hadc1);
  HAL_ADC_Stop(&hadc1);

  CCU_ADC_tmp = (int) (CCU_ADC_tmp * adc_dalta * 15) ;

  CCU_ADC = CCU_ADC_tmp;
  MAIN_ADC = CCU_ADC;

  ///////////////////////////////////////////////////////////////////

  ///////////////////////////////////////////////////////////////////
  sConfig.Channel = ADC_CHANNEL_5;
  if (HAL_ADC_ConfigChannel(&hadc1, &sConfig) != HAL_OK)
  {
    Error_Handler();
  }

  int MAIN_ADC_tmp;
  HAL_ADC_Start(&hadc1);
  HAL_ADC_PollForConversion(&hadc1, 1000);
  MAIN_ADC_tmp = HAL_ADC_GetValue(&hadc1);
  HAL_ADC_Stop(&hadc1);

  MAIN_ADC_tmp = (int) (MAIN_ADC_tmp * adc_dalta * 15) ;

  //MAIN_ADC = MAIN_ADC_tmp;

  ///////////////////////////////////////////////////////////////////

  ///////////////////////////////////////////////////////////////////
  sConfig.Channel = ADC_CHANNEL_10;
  if (HAL_ADC_ConfigChannel(&hadc1, &sConfig) != HAL_OK)
  {
    Error_Handler();
  }

  HAL_ADC_Start(&hadc1);
  HAL_ADC_PollForConversion(&hadc1, 1000);
  BAT_CVH_ADC_O = HAL_ADC_GetValue(&hadc1);
  HAL_ADC_Stop(&hadc1);

  BAT_CVH_ADC = (int) (BAT_CVH_ADC_O * adc_dalta * 15) ;

  if(BAT_CVH_ADC > 5000){
    BAT_CVH_ADC = BAT_CVH_ADC + 11000;
  }

  ///////////////////////////////////////////////////////////////////

  ///////////////////////////////////////////////////////////////////

  sConfig.Channel = ADC_CHANNEL_11;
  if (HAL_ADC_ConfigChannel(&hadc1, &sConfig) != HAL_OK)
  {
    Error_Handler();
  }

  HAL_ADC_Start(&hadc1);
  HAL_ADC_PollForConversion(&hadc1, 1000);
  BAT_CVL_ADC_O = HAL_ADC_GetValue(&hadc1);
  HAL_ADC_Stop(&hadc1);

  BAT_CVL_ADC = (int) (BAT_CVL_ADC_O * adc_dalta * 15) ;

  ///////////////////////////////////////////////////////////////////

  ///////////////////////////////////////////////////////////////////

  if(BAT_CVH_ADC > 5000){
    BAT_CVL_ADC = BAT_CVL_ADC+ 11000;;
  }

  Bat_Currunt = (BAT_CVH_ADC - BAT_CVL_ADC)/2;
}

void Battery_Test(void){

  int i;

  Test_status = 0;

  if(Pow_Mode == AC_Mode){
    Charge_Stat = 2;
    HAL_GPIO_WritePin(BAT_CHARGE_GPIO_Port , BAT_CHARGE_Pin , GPIO_PIN_RESET);

    for(i=0;i<100;i++){

      HAL_GPIO_WritePin(BAT_TEST_GPIO_Port , BAT_TEST_Pin , GPIO_PIN_SET);
      HAL_Delay(80);

      if(rx3_Receive_complete == 1){
        SW_Com();
      }

      Read_ADC();
      BAT_ADC = BAT_CVL_ADC;

      if(BAT_ADC < Err_Battery_val){
        HAL_GPIO_WritePin(BAT_TEST_GPIO_Port , BAT_TEST_Pin , GPIO_PIN_RESET);
        Test_status = 2;
        break;
      }
    }

    if(i == 100){
      Test_status = 1;
    }

    Charge_Stat = 0;
    HAL_GPIO_WritePin(BAT_TEST_GPIO_Port , BAT_TEST_Pin , GPIO_PIN_RESET);
  }
  else{
    Test_status = 1;
  }
}

void SUB_Com_SW_V(void){

	uint8_t Uart_crc;

    Uart_tx_buf[0] = 0x53;    //S
    Uart_tx_buf[1] = 0x54;    //T
    Uart_tx_buf[2] = 0x53;    //S
    Uart_tx_buf[3] = 0x76;    //v
    Uart_tx_buf[4] = 0x54;    //TB
    Uart_tx_buf[5] = TB_Address;    //address
    Uart_tx_buf[6] = F_Version_Year;
    Uart_tx_buf[7] = F_Version_Month;
    Uart_tx_buf[8] = F_Version_Day;
    Uart_tx_buf[9] = F_Version_Hour;
    Uart_tx_buf[10] = F_Version_Min;
    Uart_tx_buf[11] = F_Version_Sec;
    Uart_tx_buf[12] = 0x00;   //CRC
    Uart_tx_buf[13] = 0x45;   //E
    Uart_tx_buf[14] = 0x44;   //D

    for(int i = 0; i <Sub_TB_length - 5 ; i++){
      Uart_crc = Uart_crc ^ Uart_tx_buf[i+2];
    }
    Uart_tx_buf[Sub_TB_length-3] = Uart_crc;

    HAL_GPIO_WritePin(RS485_DE_GPIO_Port , RS485_DE_Pin , GPIO_PIN_SET);
    HAL_GPIO_WritePin(RS485_RE_GPIO_Port , RS485_RE_Pin , GPIO_PIN_SET);

    HAL_Delay(1);
    if(HAL_UART_Transmit(&huart3, Uart_tx_buf, Sub_TB_length, 1000)!= HAL_OK)
        {
          Error_Handler();
        }

    HAL_Delay(1);

    HAL_GPIO_WritePin(RS485_DE_GPIO_Port , RS485_DE_Pin , GPIO_PIN_RESET);
    HAL_GPIO_WritePin(RS485_RE_GPIO_Port , RS485_RE_Pin , GPIO_PIN_RESET);

}

/* USER CODE END 4 */

void Error_Handler(void)
{
  __disable_irq();
  while (1)
  {
  }
}
